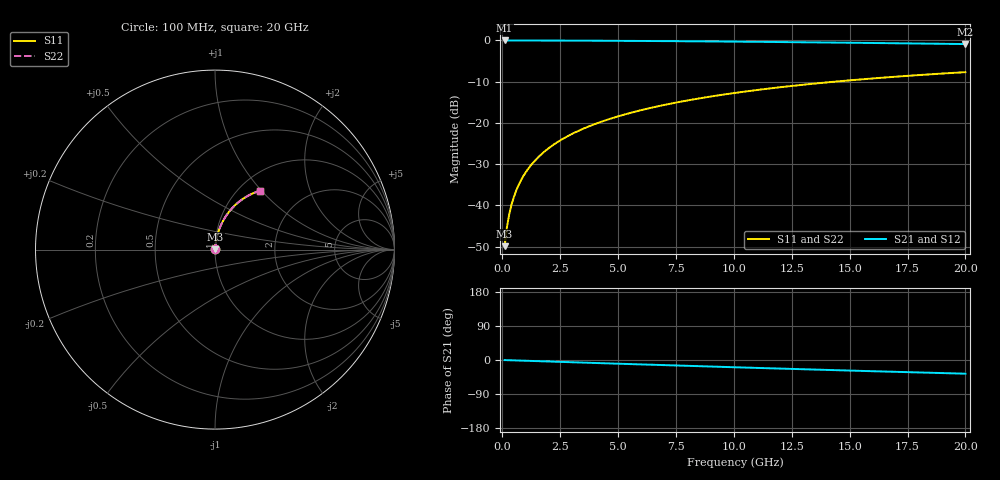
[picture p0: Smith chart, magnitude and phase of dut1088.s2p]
! Touchstone file exported from HFSS 2026.1.0
!  File:  C:/ffzhzh/LocalFiles/Ansys_Project_Files/temp_train_TMRDL_1088_1783161030_18472.aedt
!  Generated:  06:31:46 PM Jul  4, 2026
!  Design:  TMRDL
!  Project:  temp_train_TMRDL_1088_1783161030_18472
! Variables:
!  h_bsmrdl = 2um
!  h_ox = 20um
!  h_rdl = 5um
!  h_sub = 80um
!  h_tmrdl = 5.85um
!  h_tsv = 80um
!  h_via = 3um
!  l_bsmrdl = 300um
!  l_sub = 856.78um
!  l_tmrdl = 456.78um
!  m_sub = 200um
!  pitch = 57.93um
!  r_tsv = 6um
!  s_tmrdl = 10um
!  w_bsmrdl = 18um
!  w_sub = 500um
!  w_tmrdl = 14.94um
!  x_tsv_center1 = 464.25um
!  x_tsv_center2 = 782.25um
!  x_tsv_center3 = 1253.97um
!  x_tsv_center4 = 1571.97um
!  x_tsv_center5 = 2043.69um
!  x_tsv_center6 = 2361.69um
# GHz S MA R 50.000000
! Terminal data exported
! Port[1] = TM_RDL1_1_T1
! Port[2] = TM_RDL1_1_T2
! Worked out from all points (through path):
!   200 points, 100 MHz to 20 GHz, reference 50 ohm
!   highest |S21| = -0.02 dB at 100 MHz (marker M1); lowest = -0.9 dB at 20 GHz (marker M2)
!   group delay of S21, straight-line fit = 5.02 ps
!   lowest |S11| = -49.9 dB at 100 MHz (marker M3), VSWR 1.01, Z = 50.2 + j0.256 ohm
!   |S11| at or under -10 dB: start of sweep to 14.37 GHz
!   |S22| runs from -49.9 to -7.7 dB; largest |S21 - S12| = 3.6e-15
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0.1  0.003204 52.6  0.9981 -0.2  0.9981 -0.2  0.003204 52.6
! Gamma 0 0 0 0
! Port Impedance 50 0 50 0
0.2  0.005448 68.1  0.998 -0.4  0.998 -0.4  0.005448 68.1
0.3  0.007826 74.2  0.9979 -0.6  0.9979 -0.6  0.007826 74.2
0.4  0.01024 77.3  0.9978 -0.8  0.9978 -0.8  0.01024 77.3
0.5  0.01266 79.2  0.9978 -1.0  0.9978 -1.0  0.01266 79.2
0.7  0.01754 81.3  0.9976 -1.4  0.9976 -1.4  0.01754 81.3
0.8  0.01998 81.9  0.9976 -1.6  0.9976 -1.6  0.01998 81.9
1  0.02488 82.6  0.9974 -2.0  0.9974 -2.0  0.02488 82.6
1.2  0.02977 83.0  0.9971 -2.4  0.9971 -2.4  0.02977 83.0
1.4  0.03466 83.1  0.9969 -2.8  0.9969 -2.8  0.03466 83.1
1.7  0.04197 83.0  0.9965 -3.4  0.9965 -3.4  0.04197 83.0
2  0.04925 82.7  0.996 -4.0  0.996 -4.0  0.04925 82.7
2.7  0.0661 81.8  0.9945 -5.3  0.9945 -5.3  0.0661 81.8
3.5  0.0851 80.5  0.9926 -6.9  0.9926 -6.9  0.0851 80.5
4.2  0.1015 79.3  0.9906 -8.3  0.9906 -8.3  0.1015 79.3
5  0.12 77.9  0.988 -9.8  0.988 -9.8  0.12 77.9
6.8  0.1607 74.8  0.9813 -13.2  0.9813 -13.2  0.1607 74.8
8.3  0.1937 72.2  0.9748 -16.0  0.9748 -16.0  0.1937 72.2
10.1  0.2319 69.0  0.9659 -19.3  0.9659 -19.3  0.2319 69.0
13.4  0.2979 63.4  0.9469 -25.2  0.9469 -25.2  0.2979 63.4
16.7  0.3581 57.9  0.9254 -30.8  0.9254 -30.8  0.3581 57.9
20  0.4121 52.7  0.9024 -36.1  0.9024 -36.1  0.4121 52.7
